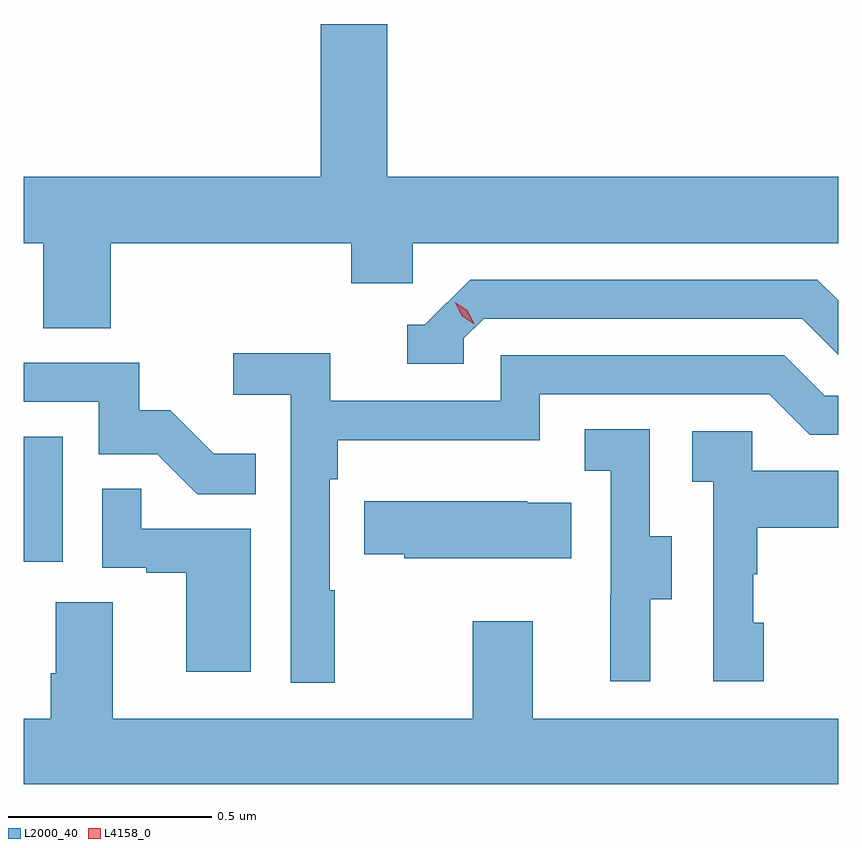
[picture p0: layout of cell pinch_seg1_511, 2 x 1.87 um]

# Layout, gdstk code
import gdstk
lib = gdstk.Library(unit=1e-6, precision=1e-09)
def R(c, l, rs):  # rectangles x0, y0, x1, y1
    for r in rs: c.add(gdstk.rectangle(r[:2], r[2:], *l))
def P(c, l, *ps):  # polygons
    for p in ps: c.add(gdstk.Polygon(p, *l))
L2000_40 = (2000, 40)
L4158_0 = (4158, 0)

pinch_seg1_511 = lib.new_cell('pinch_seg1_511')
R(pinch_seg1_511, L2000_40, [(1141.301,534.966,1141.396,535.273)])
P(pinch_seg1_511, L2000_40, [(1141.514,535.748),(1142.105,535.748),(1142.105,535.65),(1142.256,535.65),(1142.256,535.748),(1143.301,535.748),(1143.301,535.912),(1142.194,535.912),(1142.194,536.287),(1142.03,536.287),(1142.03,535.912),(1141.301,535.912),(1141.301,535.748),(1141.349,535.748),(1141.349,535.54),(1141.514,535.54)],
  [(1142.382,535.515),(1142.43,535.563),(1143.213,535.563),(1143.301,535.475),(1143.301,535.608),(1143.25,535.659),(1142.397,535.659),(1142.286,535.548),(1142.243,535.548),(1142.243,535.452),(1142.382,535.452)],
  [(1142.065,534.896),(1142.052,534.896),(1142.052,535.169),(1142.072,535.169),(1142.072,535.265),(1142.568,535.265),(1142.568,535.377),(1143.132,535.377),(1143.231,535.278),(1143.301,535.278),(1143.301,535.374),(1143.268,535.374),(1143.169,535.473),(1142.472,535.473),(1142.472,535.362),(1142.054,535.362),(1142.054,535.478),(1141.815,535.478),(1141.815,535.376),(1141.956,535.376),(1141.956,534.669),(1142.065,534.669)],
  [(1141.871,535.231),(1141.767,535.231),(1141.66,535.338),(1141.584,535.338),(1141.584,535.455),(1141.301,535.455),(1141.301,535.359),(1141.485,535.359),(1141.485,535.23),(1141.629,535.23),(1141.727,535.132),(1141.871,535.132)],
  [(1142.839,534.874),(1142.893,534.874),(1142.893,535.029),(1142.838,535.029),(1142.838,535.292),(1142.679,535.292),(1142.679,535.189),(1142.742,535.189),(1142.742,534.885),(1142.741,534.885),(1142.741,534.672),(1142.839,534.672)],
  [(1143.118,534.816),(1143.093,534.816),(1143.093,534.935),(1143.103,534.935),(1143.103,535.049),(1143.301,535.049),(1143.301,535.189),(1143.09,535.189),(1143.09,535.287),(1142.943,535.287),(1142.943,535.163),(1142.994,535.163),(1142.994,534.672),(1143.118,534.672)],
  [(1141.858,535.047),(1141.589,535.047),(1141.589,535.145),(1141.494,535.145),(1141.494,534.951),(1141.601,534.951),(1141.601,534.939),(1141.7,534.939),(1141.7,534.696),(1141.858,534.696)],
  [(1142.645,535.111),(1142.537,535.111),(1142.537,535.114),(1142.137,535.114),(1142.137,534.985),(1142.235,534.985),(1142.235,534.974),(1142.645,534.974)],
  [(1143.301,534.58),(1142.551,534.58),(1142.551,534.82),(1142.404,534.82),(1142.404,534.58),(1141.519,534.58),(1141.519,534.866),(1141.379,534.866),(1141.379,534.692),(1141.367,534.692),(1141.367,534.58),(1141.301,534.58),(1141.301,534.42),(1143.301,534.42)])
P(pinch_seg1_511, L4158_0, [(1142.407,535.55),(1142.376,535.57),(1142.36,535.602),(1142.36,535.603),(1142.36,535.603),(1142.391,535.583),(1142.407,535.55),(1142.407,535.55)])

lib.write_gds('pinch_seg1_511.gds')
